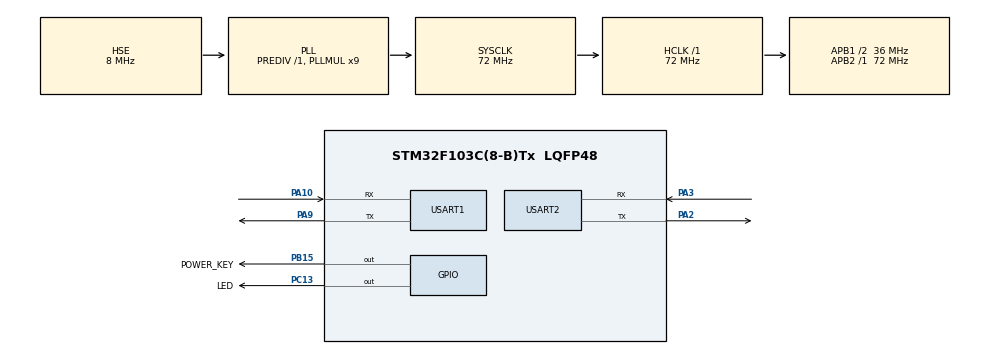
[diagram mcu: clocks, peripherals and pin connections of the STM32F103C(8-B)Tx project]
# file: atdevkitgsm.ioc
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Mcu.Family=STM32F1
Mcu.Name=STM32F103C(8-B)Tx
Mcu.Package=LQFP48
NVIC.PriorityGroup=NVIC_PRIORITYGROUP_4
NVIC.RCC_IRQn=true\:0\:0\:false\:false\:true\:true\:false
NVIC.USART1_IRQn=true\:0\:0\:false\:false\:true\:true\:true
NVIC.USART2_IRQn=true\:0\:0\:false\:false\:true\:true\:true
PA10.Mode=Asynchronous
PA10.Signal=USART1_RX
PA2.Mode=Asynchronous
PA2.Signal=USART2_TX
PA3.Mode=Asynchronous
PA3.Signal=USART2_RX
PA9.Mode=Asynchronous
PA9.Signal=USART1_TX
PB15.GPIO_Label=POWER_KEY
PB15.Signal=GPIO_Output
PC13-TAMPER-RTC.GPIO_Label=LED
PC13-TAMPER-RTC.Signal=GPIO_Output
PD0-OSC_IN.Mode=HSE-External-Oscillator
PD0-OSC_IN.Signal=RCC_OSC_IN
PD1-OSC_OUT.Mode=HSE-External-Oscillator
PD1-OSC_OUT.Signal=RCC_OSC_OUT
ProjectManager.HeapSize=0x200
ProjectManager.StackSize=0x400
ProjectManager.TargetToolchain=STM32CubeIDE
RCC.AHBFreq_Value=72000000
RCC.APB1CLKDivider=RCC_HCLK_DIV2
RCC.APB1Freq_Value=36000000
RCC.APB1TimFreq_Value=72000000
RCC.APB2Freq_Value=72000000
RCC.APB2TimFreq_Value=72000000
RCC.HCLKFreq_Value=72000000
RCC.PLLMUL=RCC_PLL_MUL9
RCC.PLLSourceVirtual=RCC_PLLSOURCE_HSE
RCC.SYSCLKFreq_VALUE=72000000
RCC.SYSCLKSource=RCC_SYSCLKSOURCE_PLLCLK
RCC.USBFreq_Value=72000000
USART1.VirtualMode=VM_ASYNC
USART2.VirtualMode=VM_ASYNC
VP_SYS_VS_ND.Mode=No_Debug
board=custom

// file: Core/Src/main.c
/* USER CODE BEGIN Header */
/**
  ******************************************************************************
  * @file           : main.c
  * @brief          : Main program body
  ******************************************************************************
  * @attention
  *
  * <h2><center>&copy; Copyright (c) 2019 STMicroelectronics.
  * All rights reserved.</center></h2>
  *
  * This software component is licensed by ST under BSD 3-Clause license,
  * the "License"; You may not use this file except in compliance with the
  * License. You may obtain a copy of the License at:
  *                        opensource.org/licenses/BSD-3-Clause
  *
  ******************************************************************************
  */
/* USER CODE END Header */

#include "main.h"
#include "usart.h"
#include "gpio.h"

#include <stdlib.h>
#include <string.h>
#include <stdio.h>
#include <assert.h>

/* USER CODE BEGIN Includes */
#include "../../Systick/gsm_systick.h"
#include "../../GSM/gsm.h"
/* USER CODE END Includes */

/* USER CODE BEGIN PV */
uint8_t apn_netw[30] = {"iot.safaricom.com"};
uint8_t apn_user[10] = {"none"};
uint8_t apn_pass[10] = {"none"};
GSMModuleState gsmModuleState;
int sent_failed_count                  = 0;
uint8_t tcp_connection_failed_count    = 0;
uint32_t sim_disconnected              = 0;
uint8_t command_failed_count           = 0;
int sim_module_on_counter              = 0;
// int network_registration_failure_count = 0;
// int gsm_command_failure_count          = 0;
// int gprs_registration_failed_count     = 0;

const char *test_endpoint = "broker.africastalking.com";
int test_port             = 1883;
/* USER CODE END PV */

void SystemClock_Config(void);

int main(void)
{

  /* MCU Configuration--------------------------------------------------------*/

  /* Reset of all peripherals, Initializes the Flash interface and the Systick. */
  HAL_Init();

  /* Configure the system clock */
  SystemClock_Config();

  /* Initialize all configured peripherals */
  MX_GPIO_Init();
  MX_USART1_UART_Init();
  MX_USART2_UART_Init();
  /* USER CODE BEGIN 2 */
  UART1FIFOInit();
  UART2FIFOInit();
  serialPrint("\nStarting up\r\n");
  startSIMModule(GSM_POWER_PORT, GSM_POWER_PIN, 3000);
  uint8_t data_length;
  uint8_t data_bucket[100];
  /* USER CODE END 2 */

  /* Infinite loop */
  while (1)
  {
    if (gsmModuleState == Off)
    {
      serialPrint("\nSIM State is Off.Initializing\r\n");
      if (initializeSIMModule())
      {
        gsmModuleState = On;
        serialPrint("\nSIM Module initilized\r\n");
      }
    }
    if (gsmModuleState == On)
    {
      serialPrint("\nSIM module is on\r\n");
      sim_module_on_counter++;
      if (sim_module_on_counter > 300)
      {
        // Should we reset the SIM Module after 300 cycles?
        serialPrint("\nReseting...\r\n");
        resetSIMModule(GSM_POWER_PORT, GSM_POWER_PIN, 3000);
        sim_module_on_counter = 0;
        gsmModuleState = Off;
        sent_failed_count = 0;
        tcp_connection_failed_count = 0;
      }
      if (checkSIMNetworkState())
      {
        if (setupTCP())
        {
          gsmModuleState = Registered;
          serialPrint("\nNetwork registered\r\n");
        }
      }
    }
    if (sent_failed_count > 10)
    {
      gsmModuleState              = On;
      sent_failed_count           = 0;
      tcp_connection_failed_count = 0;
      serialPrint("\nGPRS Connection failed\r\n");
    }
    if (tcp_connection_failed_count > 20)
    {
      gsmModuleState              = On;
      tcp_connection_failed_count = 0;
      sent_failed_count           = 0;
      serialPrint("\nTCP Connection failed\r\n");
    }
    if (gsmModuleState == Registered)
    {
      gsmKeepAlive();
      getTCPStatus(300);
      if (tcpConnectionObject.state == CONNECTED)
      {
        serialPrint("\nConnected to TCP Endpoint.\r\n");
      }else if((tcpConnectionObject.state == CLOSED) || (tcpConnectionObject.state == INITIAL))
      {
        data_length = snprintf((char *)data_bucket, 64, "AT+CIPSTART=0,\"TCP\",\"%s\",\"%i\"\r",test_endpoint, test_port);
        if (sendATCommand(data_bucket, data_length, "CONNECT OK", 300))
        {
          serialPrint("\nConnected to endpoint\r\n");
        }else
        {
          serialPrint("\nTCP Connection failed\r\n");
          sent_failed_count++;
        }
      }
    }
    if (tcpConnectionObject.state == CONNECTED)
    {
      serialPrint("\nStill connected...Nothing to do \r\n");
      HAL_Delay(5000);
    }else
    {
      serialPrint("\nDisconnected\r\n");
    }
  }
}

void SystemClock_Config(void)
{
  RCC_OscInitTypeDef RCC_OscInitStruct = {0};
  RCC_ClkInitTypeDef RCC_ClkInitStruct = {0};

  /** Initializes the CPU, AHB and APB busses clocks
  */
  RCC_OscInitStruct.OscillatorType = RCC_OSCILLATORTYPE_HSE;
  RCC_OscInitStruct.HSEState = RCC_HSE_ON;
  RCC_OscInitStruct.HSEPredivValue = RCC_HSE_PREDIV_DIV1;
  RCC_OscInitStruct.HSIState = RCC_HSI_ON;
  RCC_OscInitStruct.PLL.PLLState = RCC_PLL_ON;
  RCC_OscInitStruct.PLL.PLLSource = RCC_PLLSOURCE_HSE;
  RCC_OscInitStruct.PLL.PLLMUL = RCC_PLL_MUL9;
  if (HAL_RCC_OscConfig(&RCC_OscInitStruct) != HAL_OK)
  {
    Error_Handler();
  }
  /** Initializes the CPU, AHB and APB busses clocks
  */
  RCC_ClkInitStruct.ClockType = RCC_CLOCKTYPE_HCLK|RCC_CLOCKTYPE_SYSCLK
                              |RCC_CLOCKTYPE_PCLK1|RCC_CLOCKTYPE_PCLK2;
  RCC_ClkInitStruct.SYSCLKSource = RCC_SYSCLKSOURCE_PLLCLK;
  RCC_ClkInitStruct.AHBCLKDivider = RCC_SYSCLK_DIV1;
  RCC_ClkInitStruct.APB1CLKDivider = RCC_HCLK_DIV2;
  RCC_ClkInitStruct.APB2CLKDivider = RCC_HCLK_DIV1;

  if (HAL_RCC_ClockConfig(&RCC_ClkInitStruct, FLASH_LATENCY_2) != HAL_OK)
  {
    Error_Handler();
  }
}

/* USER CODE BEGIN 4 */
int serialPrint(const char *string_format, ...)
{
  if (DEVEL)
  {
    return printf(string_format);
  }
  else
  {
    return 0;
  }
}

int __io_putchar(uint8_t ch)
{
  if (ch)
  {
    UART1PutChar(ch);
    return ch;
  }
  else
  {
    return 0;
  }

}
/* USER CODE END 4 */

void Error_Handler(void)
{
}

/************************ (C) COPYRIGHT STMicroelectronics *****END OF FILE****/
